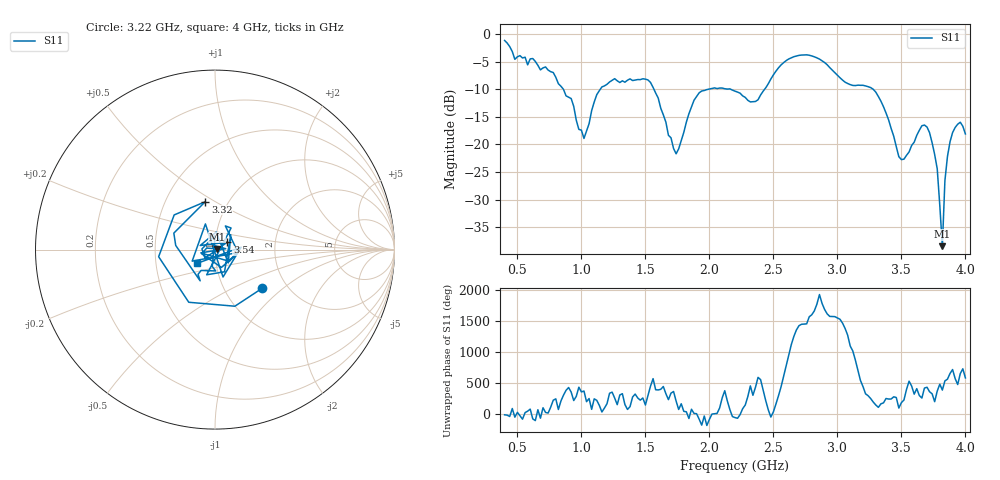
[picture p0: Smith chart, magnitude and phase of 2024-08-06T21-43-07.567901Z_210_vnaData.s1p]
!Created with skrf (http://scikit-rf.org).
# Hz S RI R 50.0
!freq ReS11 ImS11
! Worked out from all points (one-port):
!   181 points, 400 MHz to 4 GHz, reference 50 ohm
!   lowest |S11| = -38.4 dB at 3.82 GHz (marker M1), VSWR 1.02, Z = 51.1 + j0.434 ohm
!   |S11| at or under -10 dB: 859.8 MHz to 1.147 GHz (287.4 MHz wide, 28.6 % of centre); 1.567 GHz to 1.989 GHz (422.2 MHz wide, 23.7 % of centre); 3.28 GHz to end of sweep (the widest 3 of 4)
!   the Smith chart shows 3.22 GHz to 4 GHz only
!   S11 on the Smith chart (normalised r, x): 3.22 GHz: 1.49, -0.73; 3.32 GHz: 0.78, +0.45; 3.54 GHz: 1.14, +0.10; 4 GHz: 0.81, -0.13
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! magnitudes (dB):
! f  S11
! 400 MHz  -1.1
! 480 MHz  -4.6
! 620 MHz  -4.4
! 860 MHz  -10.0
! 1.02 GHz  -18.9
! 1.12 GHz  -11.0
! 1.3 GHz  -8.8
! 1.54 GHz  -8.8
! 1.72 GHz  -20.7
! 1.76 GHz  -20.8
! 1.92 GHz  -10.6
! 2.2 GHz  -10.3
! 2.36 GHz  -12.2
! 2.66 GHz  -4.1
! 3.1 GHz  -9.1
! 3.22 GHz  -9.4
! 3.32 GHz  -11.3
! 3.48 GHz  -22.2
! 3.54 GHz  -22.0
! 3.56 GHz  -21.4
! 3.66 GHz  -16.6
! 3.72 GHz  -17.9
! 3.78 GHz  -24.4
! 3.82 GHz  -38.4
! 3.84 GHz  -26.5
! 3.88 GHz  -19.5
! 3.96 GHz  -16.0
! 4 GHz  -18.1
